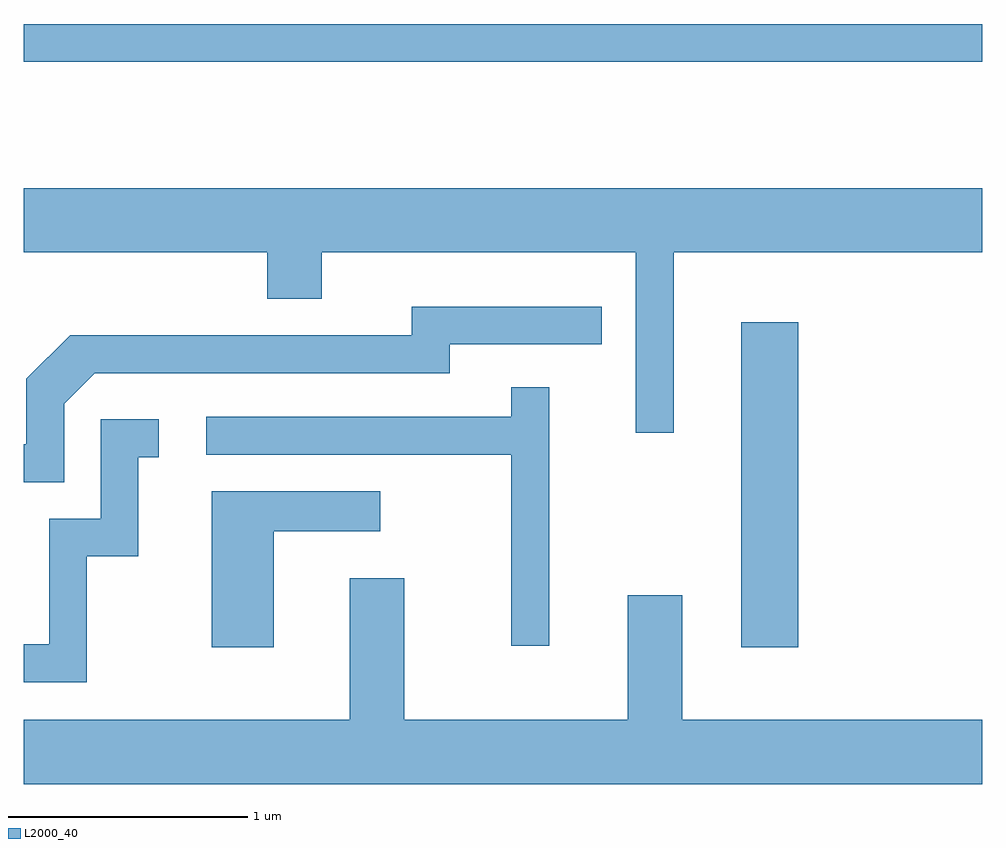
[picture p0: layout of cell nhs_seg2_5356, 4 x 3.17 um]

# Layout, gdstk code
import gdstk
lib = gdstk.Library(unit=1e-6, precision=1e-09)
def R(c, l, rs):  # rectangles x0, y0, x1, y1
    for r in rs: c.add(gdstk.rectangle(r[:2], r[2:], *l))
def P(c, l, *ps):  # polygons
    for p in ps: c.add(gdstk.Polygon(p, *l))
L2000_40 = (2000, 40)

nhs_seg2_5356 = lib.new_cell('nhs_seg2_5356')
R(nhs_seg2_5356, L2000_40, [(346.606,1006.706,346.844,1008.064), (343.611,1009.151,347.611,1009.309)])
P(nhs_seg2_5356, L2000_40, [(343.611,1008.356),(344.626,1008.356),(344.626,1008.161),(344.854,1008.161),(344.854,1008.356),(346.166,1008.356),(346.166,1007.603),(346.324,1007.603),(346.324,1008.356),(347.611,1008.356),(347.611,1008.624),(343.611,1008.624)],
  [(343.779,1007.724),(343.907,1007.851),(345.389,1007.851),(345.389,1007.971),(346.023,1007.971),(346.023,1008.129),(345.231,1008.129),(345.231,1008.009),(343.804,1008.009),(343.621,1007.827),(343.621,1007.554),(343.611,1007.554),(343.611,1007.396),(343.779,1007.396)],
  [(345.804,1007.793),(345.646,1007.793),(345.646,1007.669),(344.373,1007.669),(344.373,1007.511),(345.646,1007.511),(345.646,1006.713),(345.804,1006.713)],
  [(343.874,1007.086),(344.089,1007.086),(344.089,1007.501),(344.173,1007.501),(344.173,1007.659),(343.931,1007.659),(343.931,1007.244),(343.716,1007.244),(343.716,1006.719),(343.611,1006.719),(343.611,1006.561),(343.874,1006.561)],
  [(344.654,1007.191),(345.098,1007.191),(345.098,1007.359),(344.396,1007.359),(344.396,1006.706),(344.654,1006.706)],
  [(347.611,1006.404),(346.359,1006.404),(346.359,1006.924),(346.131,1006.924),(346.131,1006.404),(345.199,1006.404),(345.199,1006.994),(344.971,1006.994),(344.971,1006.404),(343.611,1006.404),(343.611,1006.136),(347.611,1006.136)])

lib.write_gds('nhs_seg2_5356.gds')
